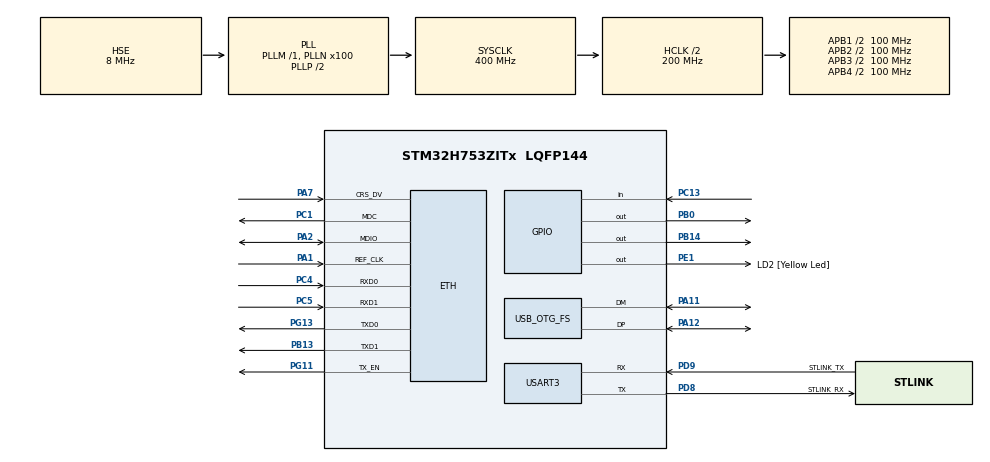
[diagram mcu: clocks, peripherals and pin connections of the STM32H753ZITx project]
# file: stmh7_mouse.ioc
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CORTEX_M7.AccessPermission_S-Cortex_Memory_Protection_Unit_Region1_Settings_S=MPU_REGION_FULL_ACCESS
CORTEX_M7.BaseAddress_S-Cortex_Memory_Protection_Unit_Region1_Settings_S=0x30040000
CORTEX_M7.CPU_DCache=Enabled
CORTEX_M7.CPU_ICache=Enabled
CORTEX_M7.DisableExec_S-Cortex_Memory_Protection_Unit_Region1_Settings_S=MPU_INSTRUCTION_ACCESS_DISABLE
CORTEX_M7.Enable_S-Cortex_Memory_Protection_Unit_Region1_Settings_S=MPU_REGION_ENABLE
CORTEX_M7.IsBufferable_S-Cortex_Memory_Protection_Unit_Region1_Settings_S=MPU_ACCESS_BUFFERABLE
CORTEX_M7.IsShareable_S-Cortex_Memory_Protection_Unit_Region1_Settings_S=MPU_ACCESS_SHAREABLE
CORTEX_M7.MPU_Control=MPU_PRIVILEGED_DEFAULT
CORTEX_M7.Size_S-Cortex_Memory_Protection_Unit_Region1_Settings_S=MPU_REGION_SIZE_32KB
CORTEX_M7.default_mode_Activation=1
ETH.MediaInterface=HAL_ETH_RMII_MODE
ETH.RxDescAddress=0x30040000
ETH.TxDescAddress=0x30040080
Mcu.Family=STM32H7
Mcu.Name=STM32H753ZITx
Mcu.Package=LQFP144
NUCLEO-H753ZI.BUTTON=1
NUCLEO-H753ZI.LD1=true
NUCLEO-H753ZI.LD2=true
NUCLEO-H753ZI.LD3=true
NVIC.ETH_IRQn=true\:7\:0\:true\:false\:true\:false\:true\:true\:true
NVIC.EXTI15_10_IRQn=true\:0\:0\:false\:false\:true\:false\:false\:true\:true
NVIC.PriorityGroup=NVIC_PRIORITYGROUP_4
NVIC.TIM6_DAC_IRQn=true\:15\:0\:false\:false\:true\:false\:false\:true\:true
NVIC.TimeBase=TIM6_DAC_IRQn
NVIC.TimeBaseIP=TIM6
PA1.GPIO_Speed=GPIO_SPEED_FREQ_VERY_HIGH
PA1.Mode=RMII
PA1.Signal=ETH_REF_CLK
PA11.Mode=Device_Only
PA11.Signal=USB_OTG_FS_DM
PA12.Mode=Device_Only
PA12.Signal=USB_OTG_FS_DP
PA2.GPIO_Speed=GPIO_SPEED_FREQ_VERY_HIGH
PA2.Mode=RMII
PA2.Signal=ETH_MDIO
PA7.GPIO_Speed=GPIO_SPEED_FREQ_VERY_HIGH
PA7.Mode=RMII
PA7.Signal=ETH_CRS_DV
PB0.Signal=GPIO_Output
PB13.GPIO_Speed=GPIO_SPEED_FREQ_VERY_HIGH
PB13.Mode=RMII
PB13.Signal=ETH_TXD1
PB14.Signal=GPIO_Output
PC1.GPIO_Speed=GPIO_SPEED_FREQ_VERY_HIGH
PC1.Mode=RMII
PC1.Signal=ETH_MDC
PC13.Signal=GPIO_Input
PC14-OSC32_IN\ (OSC32_IN).Signal=RCC_OSC32_IN
PC15-OSC32_OUT\ (OSC32_OUT).Signal=RCC_OSC32_OUT
PC4.GPIO_Speed=GPIO_SPEED_FREQ_VERY_HIGH
PC4.Mode=RMII
PC4.Signal=ETH_RXD0
PC5.GPIO_Speed=GPIO_SPEED_FREQ_VERY_HIGH
PC5.Mode=RMII
PC5.Signal=ETH_RXD1
PD8.GPIO_Label=STLINK_RX
PD8.Mode=Asynchronous
PD8.Signal=USART3_TX
PD9.GPIO_Label=STLINK_TX
PD9.Mode=Asynchronous
PD9.Signal=USART3_RX
PE1.GPIO_Label=LD2 [Yellow Led]
PE1.Signal=GPIO_Output
PG11.GPIO_Speed=GPIO_SPEED_FREQ_VERY_HIGH
PG11.Mode=RMII
PG11.Signal=ETH_TX_EN
PG13.GPIO_Speed=GPIO_SPEED_FREQ_VERY_HIGH
PG13.Mode=RMII
PG13.Signal=ETH_TXD0
PH0-OSC_IN\ (PH0).Mode=HSE-External-Clock-Source
PH0-OSC_IN\ (PH0).Signal=RCC_OSC_IN
PH1-OSC_OUT\ (PH1).Signal=RCC_OSC_OUT
ProjectManager.HeapSize=0x200
ProjectManager.StackSize=0x400
ProjectManager.TargetToolchain=STM32CubeIDE
RCC.ADCFreq_Value=16125000
RCC.APB1Freq_Value=100000000
RCC.APB2Freq_Value=100000000
RCC.APB3Freq_Value=100000000
RCC.APB4Freq_Value=100000000
RCC.CortexFreq_Value=400000000
RCC.D1PPRE=RCC_APB3_DIV2
RCC.D2PPRE1=RCC_APB1_DIV2
RCC.D2PPRE2=RCC_APB2_DIV2
RCC.D3PPRE=RCC_APB4_DIV2
RCC.DIVM1=1
RCC.DIVN1=100
RCC.DIVQ1=16
RCC.HCLKFreq_Value=200000000
RCC.HPRE=RCC_HCLK_DIV2
RCC.HSE_VALUE=8000000
RCC.PLLFRACN=0
RCC.PLLSourceVirtual=RCC_PLLSOURCE_HSE
RCC.PWR_Regulator_Voltage_Scale=PWR_REGULATOR_VOLTAGE_SCALE1
RCC.SYSCLKFreq_VALUE=400000000
RCC.SYSCLKSource=RCC_SYSCLKSOURCE_PLLCLK
RCC.USBFreq_Value=50000000
STMicroelectronics.X-CUBE-AZRTOS-H7.3.4.0.InterfacesCcNetworkJjEthernetOoInterface=true
STMicroelectronics.X-CUBE-AZRTOS-H7.3.4.0.InterfacesCcNetworkJjEthernetOoPhyOoInterface=LAN8742IiPhyIiInterface
STMicroelectronics.X-CUBE-AZRTOS-H7.3.4.0.NetXDuoCcNetworkJjNetXDuoJjNXOoCore=true
STMicroelectronics.X-CUBE-AZRTOS-H7.3.4.0.NetXDuo_Static_IP_address=192.168.82.1
STMicroelectronics.X-CUBE-AZRTOS-H7.3.4.0.STM32CubeIiBSPIiComponentsCcBoardOoPartJjETHPhyJjLAN8742=true
STMicroelectronics.X-CUBE-AZRTOS-H7.3.4.0.TX_APP_GENERATE_INIT_CODE=true
STMicroelectronics.X-CUBE-AZRTOS-H7.3.4.0.ThreadXCcRTOSJjThreadXJjCore=true
STMicroelectronics.X-CUBE-AZRTOS-H7.3.4.0.USBD_HID_KEYBOARD_EPIN_ADDR=2
STMicroelectronics.X-CUBE-AZRTOS-H7.3.4.0.USBXCcUSBJjUSBXJjCoreSystem=true
STMicroelectronics.X-CUBE-AZRTOS-H7.3.4.0.USBXCcUSBJjUSBXJjUXOoDeviceOoClassOoHIDOoCore=true
STMicroelectronics.X-CUBE-AZRTOS-H7.3.4.0.USBXCcUSBJjUSBXJjUXOoDeviceOoClassOoHIDOoKeyboard=true
STMicroelectronics.X-CUBE-AZRTOS-H7.3.4.0.USBXCcUSBJjUSBXJjUXOoDeviceOoClassOoHIDOoMouse=true
STMicroelectronics.X-CUBE-AZRTOS-H7.3.4.0.USBXCcUSBJjUSBXJjUXOoDeviceOoControllers=true
STMicroelectronics.X-CUBE-AZRTOS-H7.3.4.0.USBXCcUSBJjUSBXJjUXOoDeviceOoCoreStack=true
STMicroelectronics.X-CUBE-AZRTOS-H7.3.4.0.USBX_DEVICE_APP_THREAD_Size=1024*2
STMicroelectronics.X-CUBE-AZRTOS-H7.3.4.0.USBX_DEVICE_SYS_SIZE=1024*12
STMicroelectronics.X-CUBE-AZRTOS-H7.3.4.0.UX_DEVICE_APP_MEM_POOL_SIZE=1024*19
STMicroelectronics.X-CUBE-AZRTOS-H7.3.4.0.UX_HOST_CLASS_STORAGE_NO_FILEX=0
STMicroelectronics.X-CUBE-AZRTOS-H7.3.4.0.UX_MAX_SLAVE_CLASS_DRIVER=2
STMicroelectronics.X-CUBE-AZRTOS-H7.3.4.0.UX_PERIODIC_RATE=1000
STMicroelectronics.X-CUBE-AZRTOS-H7.3.4.0.UX_SLAVE_REQUEST_DATA_MAX_LENGTH=2048
STMicroelectronics.X-CUBE-AZRTOS-H7.3.4.0_IsAnAzureRtosMw=true
USART3.VirtualMode-Asynchronous=VM_ASYNC
USB_OTG_FS.VirtualMode=Device_Only
VP_MEMORYMAP_VS_MEMORYMAP.Mode=CurAppReg
VP_NUCLEO-H753ZI_VS_BSP_COMMON.Mode=COMMON
VP_STMicroelectronics.X-CUBE-AZRTOS-H7_VS_BoardOoPartJjSTM32CubeIiBSPIiComponents_3.4.0_3.4.0.Mode=BoardOoPartJjSTM32CubeIiBSPIiComponents
VP_STMicroelectronics.X-CUBE-AZRTOS-H7_VS_NetworkJjInterfaces_3.4.0_3.4.0.Mode=NetworkJjInterfaces
VP_STMicroelectronics.X-CUBE-AZRTOS-H7_VS_NetworkJjNetXDuo_6.4.0_3.4.0.Mode=NetworkJjNetXDuo
VP_STMicroelectronics.X-CUBE-AZRTOS-H7_VS_RTOSJjThreadX_6.4.0_3.4.0.Mode=RTOSJjThreadX
VP_STMicroelectronics.X-CUBE-AZRTOS-H7_VS_USBJjUSBX_6.4.0_3.4.0.Mode=USBJjUSBX
VP_SYS_VS_tim6.Mode=TIM6
board=NUCLEO-H753ZI

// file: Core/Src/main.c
/* USER CODE BEGIN Header */
/**
  ******************************************************************************
  * @file           : main.c
  * @brief          : Main program body
  ******************************************************************************
  * @attention
  *
  * Copyright (c) 2025 STMicroelectronics.
  * All rights reserved.
  *
  * This software is licensed under terms that can be found in the LICENSE file
  * in the root directory of this software component.
  * If no LICENSE file comes with this software, it is provided AS-IS.
  *
  ******************************************************************************
  */
/* USER CODE END Header */
#include "app_threadx.h"
#include "main.h"
#include "string.h"

/* USER CODE BEGIN Includes */
#include <stdio.h>
#include <stdint.h>
#include <unistd.h>
#include <errno.h>
/* USER CODE END Includes */

#if defined ( __ICCARM__ ) /*!< IAR Compiler */
#pragma location=0x30040000
ETH_DMADescTypeDef  DMARxDscrTab[ETH_RX_DESC_CNT]; /* Ethernet Rx DMA Descriptors */
#pragma location=0x30040080
ETH_DMADescTypeDef  DMATxDscrTab[ETH_TX_DESC_CNT]; /* Ethernet Tx DMA Descriptors */

#elif defined ( __CC_ARM )  /* MDK ARM Compiler */

__attribute__((at(0x30040000))) ETH_DMADescTypeDef  DMARxDscrTab[ETH_RX_DESC_CNT]; /* Ethernet Rx DMA Descriptors */
__attribute__((at(0x30040080))) ETH_DMADescTypeDef  DMATxDscrTab[ETH_TX_DESC_CNT]; /* Ethernet Tx DMA Descriptors */

#elif defined ( __GNUC__ ) /* GNU Compiler */

ETH_DMADescTypeDef DMARxDscrTab[ETH_RX_DESC_CNT] __attribute__((section(".RxDescripSection"))); /* Ethernet Rx DMA Descriptors */
ETH_DMADescTypeDef DMATxDscrTab[ETH_TX_DESC_CNT] __attribute__((section(".TxDescripSection")));   /* Ethernet Tx DMA Descriptors */
#endif

ETH_TxPacketConfig TxConfig;

ETH_HandleTypeDef heth;

UART_HandleTypeDef huart3;

PCD_HandleTypeDef hpcd_USB_OTG_FS;

void SystemClock_Config(void);
static void MPU_Config(void);
static void MX_GPIO_Init(void);
static void MX_ETH_Init(void);
static void MX_USART3_UART_Init(void);
static void MX_USB_OTG_FS_PCD_Init(void);

/* USER CODE BEGIN 0 */
int __io_putchar(int ch) {
  HAL_UART_Transmit(&huart3, (uint8_t *)&ch, 1, 0xFFFF);
  return ch;
}
/* USER CODE END 0 */

int main(void)
{

  /* MPU Configuration--------------------------------------------------------*/
  MPU_Config();

  /* Enable the CPU Cache */

  /* Enable I-Cache---------------------------------------------------------*/
  SCB_EnableICache();

  /* Enable D-Cache---------------------------------------------------------*/
  SCB_EnableDCache();

  /* MCU Configuration--------------------------------------------------------*/

  /* Reset of all peripherals, Initializes the Flash interface and the Systick. */
  HAL_Init();

  /* Configure the system clock */
  SystemClock_Config();

  /* Initialize all configured peripherals */
  MX_GPIO_Init();
  MX_ETH_Init();
  MX_USART3_UART_Init();
  MX_USB_OTG_FS_PCD_Init();
  /* USER CODE BEGIN 2 */

  printf("Peripherals Initialized\r\n");
  // wait for ethernet, otherwise it will not work
  HAL_Delay(2000);
  /* USER CODE END 2 */

  /* Initialize leds */
  BSP_LED_Init(LED_GREEN);
  BSP_LED_Init(LED_BLUE);
  BSP_LED_Init(LED_RED);

  /* Initialize USER push-button, will be used to trigger an interrupt each time it's pressed.*/
  BSP_PB_Init(BUTTON_USER, BUTTON_MODE_EXTI);

  MX_ThreadX_Init();

  /* We should never get here as control is now taken by the scheduler */

  /* Infinite loop */
  while (1)
  {

  }
}

void SystemClock_Config(void)
{
  RCC_OscInitTypeDef RCC_OscInitStruct = {0};
  RCC_ClkInitTypeDef RCC_ClkInitStruct = {0};

  /** Supply configuration update enable
  */
  HAL_PWREx_ConfigSupply(PWR_LDO_SUPPLY);

  /** Configure the main internal regulator output voltage
  */
  __HAL_PWR_VOLTAGESCALING_CONFIG(PWR_REGULATOR_VOLTAGE_SCALE1);

  while(!__HAL_PWR_GET_FLAG(PWR_FLAG_VOSRDY)) {}

  /** Initializes the RCC Oscillators according to the specified parameters
  * in the RCC_OscInitTypeDef structure.
  */
  RCC_OscInitStruct.OscillatorType = RCC_OSCILLATORTYPE_HSE;
  RCC_OscInitStruct.HSEState = RCC_HSE_BYPASS;
  RCC_OscInitStruct.PLL.PLLState = RCC_PLL_ON;
  RCC_OscInitStruct.PLL.PLLSource = RCC_PLLSOURCE_HSE;
  RCC_OscInitStruct.PLL.PLLM = 1;
  RCC_OscInitStruct.PLL.PLLN = 100;
  RCC_OscInitStruct.PLL.PLLP = 2;
  RCC_OscInitStruct.PLL.PLLQ = 16;
  RCC_OscInitStruct.PLL.PLLR = 2;
  RCC_OscInitStruct.PLL.PLLRGE = RCC_PLL1VCIRANGE_3;
  RCC_OscInitStruct.PLL.PLLVCOSEL = RCC_PLL1VCOWIDE;
  RCC_OscInitStruct.PLL.PLLFRACN = 0;
  if (HAL_RCC_OscConfig(&RCC_OscInitStruct) != HAL_OK)
  {
    Error_Handler();
  }

  /** Initializes the CPU, AHB and APB buses clocks
  */
  RCC_ClkInitStruct.ClockType = RCC_CLOCKTYPE_HCLK|RCC_CLOCKTYPE_SYSCLK
                              |RCC_CLOCKTYPE_PCLK1|RCC_CLOCKTYPE_PCLK2
                              |RCC_CLOCKTYPE_D3PCLK1|RCC_CLOCKTYPE_D1PCLK1;
  RCC_ClkInitStruct.SYSCLKSource = RCC_SYSCLKSOURCE_PLLCLK;
  RCC_ClkInitStruct.SYSCLKDivider = RCC_SYSCLK_DIV1;
  RCC_ClkInitStruct.AHBCLKDivider = RCC_HCLK_DIV2;
  RCC_ClkInitStruct.APB3CLKDivider = RCC_APB3_DIV2;
  RCC_ClkInitStruct.APB1CLKDivider = RCC_APB1_DIV2;
  RCC_ClkInitStruct.APB2CLKDivider = RCC_APB2_DIV2;
  RCC_ClkInitStruct.APB4CLKDivider = RCC_APB4_DIV2;

  if (HAL_RCC_ClockConfig(&RCC_ClkInitStruct, FLASH_LATENCY_2) != HAL_OK)
  {
    Error_Handler();
  }
}

static void MX_ETH_Init(void)
{

   static uint8_t MACAddr[6];

  heth.Instance = ETH;
  MACAddr[0] = 0x00;
  MACAddr[1] = 0x80;
  MACAddr[2] = 0xE1;
  MACAddr[3] = 0x00;
  MACAddr[4] = 0x00;
  MACAddr[5] = 0x00;
  heth.Init.MACAddr = &MACAddr[0];
  heth.Init.MediaInterface = HAL_ETH_RMII_MODE;
  heth.Init.TxDesc = DMATxDscrTab;
  heth.Init.RxDesc = DMARxDscrTab;
  heth.Init.RxBuffLen = 1536;

  if (HAL_ETH_Init(&heth) != HAL_OK)
  {
    Error_Handler();
  }

  memset(&TxConfig, 0 , sizeof(ETH_TxPacketConfig));
  TxConfig.Attributes = ETH_TX_PACKETS_FEATURES_CSUM | ETH_TX_PACKETS_FEATURES_CRCPAD;
  TxConfig.ChecksumCtrl = ETH_CHECKSUM_IPHDR_PAYLOAD_INSERT_PHDR_CALC;
  TxConfig.CRCPadCtrl = ETH_CRC_PAD_INSERT;

}

static void MX_USART3_UART_Init(void)
{

  huart3.Instance = USART3;
  huart3.Init.BaudRate = 115200;
  huart3.Init.WordLength = UART_WORDLENGTH_8B;
  huart3.Init.StopBits = UART_STOPBITS_1;
  huart3.Init.Parity = UART_PARITY_NONE;
  huart3.Init.Mode = UART_MODE_TX_RX;
  huart3.Init.HwFlowCtl = UART_HWCONTROL_NONE;
  huart3.Init.OverSampling = UART_OVERSAMPLING_16;
  huart3.Init.OneBitSampling = UART_ONE_BIT_SAMPLE_DISABLE;
  huart3.Init.ClockPrescaler = UART_PRESCALER_DIV1;
  huart3.AdvancedInit.AdvFeatureInit = UART_ADVFEATURE_NO_INIT;
  if (HAL_UART_Init(&huart3) != HAL_OK)
  {
    Error_Handler();
  }
  if (HAL_UARTEx_SetTxFifoThreshold(&huart3, UART_TXFIFO_THRESHOLD_1_8) != HAL_OK)
  {
    Error_Handler();
  }
  if (HAL_UARTEx_SetRxFifoThreshold(&huart3, UART_RXFIFO_THRESHOLD_1_8) != HAL_OK)
  {
    Error_Handler();
  }
  if (HAL_UARTEx_DisableFifoMode(&huart3) != HAL_OK)
  {
    Error_Handler();
  }

}

static void MX_USB_OTG_FS_PCD_Init(void)
{

  hpcd_USB_OTG_FS.Instance = USB_OTG_FS;
  hpcd_USB_OTG_FS.Init.dev_endpoints = 9;
  hpcd_USB_OTG_FS.Init.speed = PCD_SPEED_FULL;
  hpcd_USB_OTG_FS.Init.dma_enable = DISABLE;
  hpcd_USB_OTG_FS.Init.phy_itface = PCD_PHY_EMBEDDED;
  hpcd_USB_OTG_FS.Init.Sof_enable = DISABLE;
  hpcd_USB_OTG_FS.Init.low_power_enable = DISABLE;
  hpcd_USB_OTG_FS.Init.lpm_enable = DISABLE;
  hpcd_USB_OTG_FS.Init.battery_charging_enable = DISABLE;
  hpcd_USB_OTG_FS.Init.vbus_sensing_enable = DISABLE;
  hpcd_USB_OTG_FS.Init.use_dedicated_ep1 = DISABLE;
  if (HAL_PCD_Init(&hpcd_USB_OTG_FS) != HAL_OK)
  {
    Error_Handler();
  }

}

static void MX_GPIO_Init(void)
{
  GPIO_InitTypeDef GPIO_InitStruct = {0};

  /* GPIO Ports Clock Enable */
  __HAL_RCC_GPIOC_CLK_ENABLE();
  __HAL_RCC_GPIOH_CLK_ENABLE();
  __HAL_RCC_GPIOA_CLK_ENABLE();
  __HAL_RCC_GPIOB_CLK_ENABLE();
  __HAL_RCC_GPIOD_CLK_ENABLE();
  __HAL_RCC_GPIOG_CLK_ENABLE();
  __HAL_RCC_GPIOE_CLK_ENABLE();

  /*Configure GPIO pin Output Level */
  HAL_GPIO_WritePin(GPIOB, GPIO_PIN_0|GPIO_PIN_14, GPIO_PIN_RESET);

  /*Configure GPIO pin Output Level */
  HAL_GPIO_WritePin(LD2_GPIO_Port, LD2_Pin, GPIO_PIN_RESET);

  /*Configure GPIO pin : PC13 */
  GPIO_InitStruct.Pin = GPIO_PIN_13;
  GPIO_InitStruct.Mode = GPIO_MODE_INPUT;
  GPIO_InitStruct.Pull = GPIO_NOPULL;
  HAL_GPIO_Init(GPIOC, &GPIO_InitStruct);

  /*Configure GPIO pins : PB0 PB14 */
  GPIO_InitStruct.Pin = GPIO_PIN_0|GPIO_PIN_14;
  GPIO_InitStruct.Mode = GPIO_MODE_OUTPUT_PP;
  GPIO_InitStruct.Pull = GPIO_NOPULL;
  GPIO_InitStruct.Speed = GPIO_SPEED_FREQ_LOW;
  HAL_GPIO_Init(GPIOB, &GPIO_InitStruct);

  /*Configure GPIO pin : LD2_Pin */
  GPIO_InitStruct.Pin = LD2_Pin;
  GPIO_InitStruct.Mode = GPIO_MODE_OUTPUT_PP;
  GPIO_InitStruct.Pull = GPIO_NOPULL;
  GPIO_InitStruct.Speed = GPIO_SPEED_FREQ_LOW;
  HAL_GPIO_Init(LD2_GPIO_Port, &GPIO_InitStruct);

}

/* USER CODE BEGIN 4 */
// For printf function to work
int _write(int fd, char* ptr, int len) {
  HAL_StatusTypeDef hstatus;

  if (fd == STDOUT_FILENO || fd == STDERR_FILENO) {
    hstatus = HAL_UART_Transmit(&huart3,(uint8_t *) ptr, len, HAL_MAX_DELAY);
    if (hstatus == HAL_OK)
      return len;
    else
      return EIO;
  }
  errno = EBADF;
  return -1;
}

int _read(int fd, char* ptr, int len) {
  (void)len;
  HAL_StatusTypeDef hstatus;

  if (fd == STDIN_FILENO) {
    hstatus = HAL_UART_Receive(&huart3, (uint8_t *) ptr, 1, HAL_MAX_DELAY);
    if (hstatus == HAL_OK)
      return 1;
    else
      return EIO;
  }
  errno = EBADF;
  return -1;
}
/* USER CODE END 4 */

 /* MPU Configuration */

void MPU_Config(void)
{
  MPU_Region_InitTypeDef MPU_InitStruct = {0};

  /* Disables the MPU */
  HAL_MPU_Disable();

  /** Initializes and configures the Region and the memory to be protected
  */
  MPU_InitStruct.Enable = MPU_REGION_ENABLE;
  MPU_InitStruct.Number = MPU_REGION_NUMBER0;
  MPU_InitStruct.BaseAddress = 0x0;
  MPU_InitStruct.Size = MPU_REGION_SIZE_4GB;
  MPU_InitStruct.SubRegionDisable = 0x87;
  MPU_InitStruct.TypeExtField = MPU_TEX_LEVEL0;
  MPU_InitStruct.AccessPermission = MPU_REGION_NO_ACCESS;
  MPU_InitStruct.DisableExec = MPU_INSTRUCTION_ACCESS_DISABLE;
  MPU_InitStruct.IsShareable = MPU_ACCESS_SHAREABLE;
  MPU_InitStruct.IsCacheable = MPU_ACCESS_NOT_CACHEABLE;
  MPU_InitStruct.IsBufferable = MPU_ACCESS_NOT_BUFFERABLE;

  HAL_MPU_ConfigRegion(&MPU_InitStruct);

  /** Initializes and configures the Region and the memory to be protected
  */
  MPU_InitStruct.Number = MPU_REGION_NUMBER1;
  MPU_InitStruct.BaseAddress = 0x30040000;
  MPU_InitStruct.Size = MPU_REGION_SIZE_32KB;
  MPU_InitStruct.SubRegionDisable = 0x0;
  MPU_InitStruct.AccessPermission = MPU_REGION_FULL_ACCESS;
  MPU_InitStruct.IsBufferable = MPU_ACCESS_BUFFERABLE;

  HAL_MPU_ConfigRegion(&MPU_InitStruct);
  /* Enables the MPU */
  HAL_MPU_Enable(MPU_PRIVILEGED_DEFAULT);

}

void HAL_TIM_PeriodElapsedCallback(TIM_HandleTypeDef *htim)
{
  if (htim->Instance == TIM6)
  {
    HAL_IncTick();
  }
}

void Error_Handler(void)
{
  __disable_irq();
  while (1)
  {
  }
}
